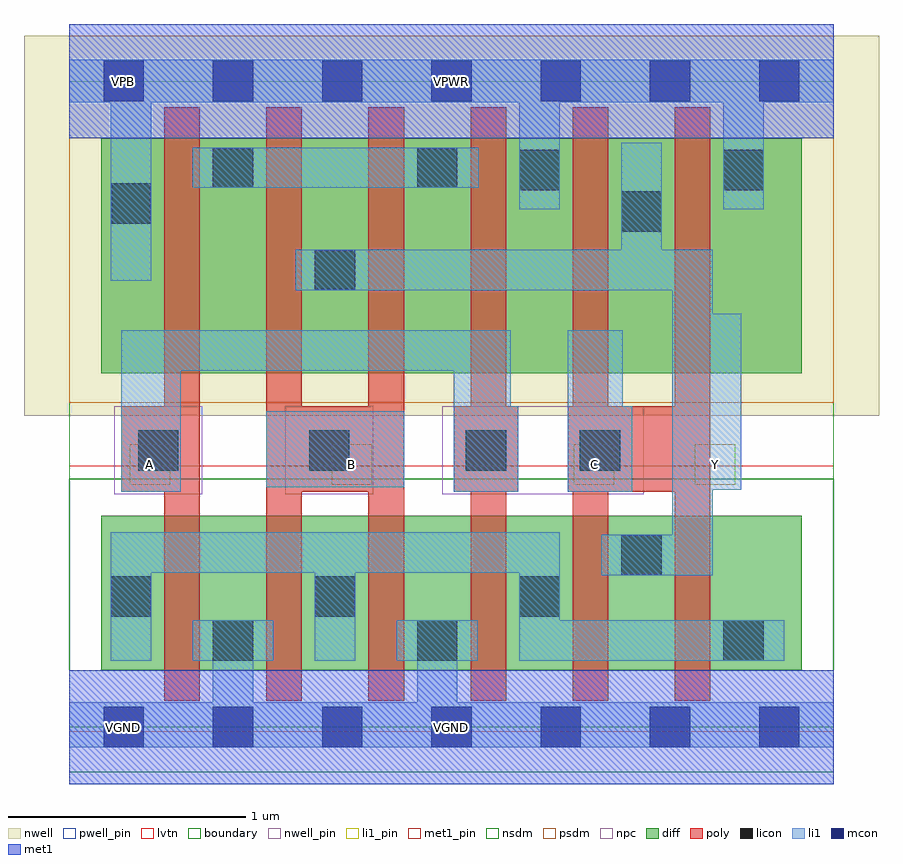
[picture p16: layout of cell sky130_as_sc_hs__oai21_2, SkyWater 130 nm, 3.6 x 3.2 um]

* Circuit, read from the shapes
.subckt sky130_as_sc_hs__oai21_2 A B C VGND VNB VPB VPWR Y
XM1 VGND A n1 VNB sky130_fd_pr__nfet_01v8_lvt w=0.65 l=0.15 m=2
XM2 n1 B VGND VNB sky130_fd_pr__nfet_01v8_lvt w=0.65 l=0.15 m=2
XM3 Y C n1 VNB sky130_fd_pr__nfet_01v8_lvt w=0.65 l=0.15 m=2
XM4 n2 A VPWR VPB sky130_fd_pr__pfet_01v8 w=0.99 l=0.15 m=2
XM5 Y B n2 VPB sky130_fd_pr__pfet_01v8 w=0.99 l=0.15 m=2
XM6 Y C VPWR VPB sky130_fd_pr__pfet_01v8 w=0.99 l=0.15 m=2
.ends

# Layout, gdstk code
import gdstk
lib = gdstk.Library(unit=1e-6, precision=1e-09)
def R(c, l, rs):  # rectangles x0, y0, x1, y1
    for r in rs: c.add(gdstk.rectangle(r[:2], r[2:], *l))
def A(c, l, x, y, w, h, nx, ny, dx, dy):  # array of equal rectangles
    R(c, l, [(x+i*dx, y+j*dy, x+i*dx+w, y+j*dy+h) for i in range(nx) for j in range(ny)])
nwell_pin = (64, 16)
nwell = (64, 20)
diff = (65, 20)
poly = (66, 20)
licon = (66, 44)
li1_pin = (67, 16)
li1 = (67, 20)
mcon = (67, 44)
met1_pin = (68, 16)
met1 = (68, 20)
nsdm = (93, 44)
psdm = (94, 20)
npc = (95, 20)
pwell_pin = (122, 16)
lvtn = (125, 44)
boundary = (235, 4)

sky130_as_sc_hs__oai21_2 = lib.new_cell('sky130_as_sc_hs__oai21_2')
R(sky130_as_sc_hs__oai21_2, nwell_pin, [(0.145,2.635,0.315,2.805)])
R(sky130_as_sc_hs__oai21_2, nwell, [(-0.19,1.31,3.41,2.91)])
R(sky130_as_sc_hs__oai21_2, diff, [(0.135,0.24,3.085,0.89), (0.135,1.49,3.085,2.48)])
A(sky130_as_sc_hs__oai21_2, poly, 0.4, 0.11, 0.15, 0.88, 6, 1, 0.43, 0)
A(sky130_as_sc_hs__oai21_2, poly, 0.4, 1.35, 0.15, 1.26, 6, 1, 0.43, 0)
R(sky130_as_sc_hs__oai21_2, poly, [(0.22,0.99,0.55,1.35), (0.83,0.99,1.41,1.35), (1.62,0.99,1.89,1.35), (2.1,0.99,2.7,1.35)])
A(sky130_as_sc_hs__oai21_2, licon, 0.175, 0.465, 0.17, 0.17, 3, 1, 0.86, 0)
R(sky130_as_sc_hs__oai21_2, licon, [(0.605,0.28,0.775,0.45), (1.465,0.28,1.635,0.45), (2.755,0.28,2.925,0.45), (2.325,0.64,2.495,0.81), (0.29,1.08,0.46,1.25), (1.01,1.08,1.18,1.25), (1.67,1.08,1.84,1.25), (2.15,1.08,2.32,1.25), (1.035,1.84,1.205,2.01), (2.325,2.085,2.495,2.255), (0.175,2.12,0.345,2.29), (1.895,2.26,2.065,2.43), (2.755,2.26,2.925,2.43), (0.605,2.27,0.775,2.44), (1.465,2.27,1.635,2.44)])
R(sky130_as_sc_hs__oai21_2, li1_pin, [(0.255,1.02,0.425,1.19), (1.105,1.02,1.275,1.19), (2.125,1.02,2.295,1.19), (2.635,1.02,2.805,1.19)])
R(sky130_as_sc_hs__oai21_2, li1, [(0,-0.085,3.22,0.105), (0.605,0.105,0.775,0.28), (1.465,0.105,1.635,0.28), (0.175,0.28,0.345,0.65), (0.52,0.28,0.86,0.45), (1.035,0.28,1.205,0.65), (1.38,0.28,1.72,0.45), (1.895,0.28,3.01,0.45), (1.895,0.45,2.065,0.65), (2.24,0.64,2.71,0.81), (0.175,0.65,2.065,0.82), (2.54,0.81,2.71,1), (0.22,0.99,0.47,1.5), (1.62,0.99,1.89,1.35), (2.1,0.99,2.37,1.35), (2.54,1,2.83,1.74), (0.83,1.01,1.41,1.33), (1.62,1.35,1.86,1.5), (2.1,1.35,2.33,1.67), (0.22,1.5,1.86,1.67), (2.54,1.74,2.71,1.84), (0.955,1.84,2.71,2.01), (0.175,1.88,0.345,2.63), (2.325,2.01,2.495,2.46), (1.895,2.18,2.065,2.63), (2.755,2.18,2.925,2.63), (0.52,2.27,1.725,2.44), (0,2.63,3.22,2.81)])
A(sky130_as_sc_hs__oai21_2, mcon, 0.145, -0.085, 0.17, 0.17, 7, 2, 0.46, 2.72)
R(sky130_as_sc_hs__oai21_2, met1_pin, [(0,-0.24,3.22,0.24), (0.145,-0.085,0.315,0.085), (0,2.48,3.22,2.96), (0.145,2.635,0.315,2.805)])
R(sky130_as_sc_hs__oai21_2, met1, [(0,-0.24,3.22,0.24), (0,2.48,3.22,2.96)])
R(sky130_as_sc_hs__oai21_2, nsdm, [(0,-0.19,3.22,1.045)])
R(sky130_as_sc_hs__oai21_2, psdm, [(0,1.365,3.22,2.91)])
R(sky130_as_sc_hs__oai21_2, npc, [(0.19,0.98,0.56,1.35), (0.91,0.98,1.28,1.35), (1.57,0.98,2.42,1.35)])
R(sky130_as_sc_hs__oai21_2, pwell_pin, [(0.145,-0.085,0.315,0.085)])
R(sky130_as_sc_hs__oai21_2, lvtn, [(0,-0.02,3.22,1.1)])
R(sky130_as_sc_hs__oai21_2, boundary, [(0,0,3.22,2.72)])
sky130_as_sc_hs__oai21_2.add(gdstk.Label('VPB', (0.23,2.72), layer=64, texttype=5))
sky130_as_sc_hs__oai21_2.add(gdstk.Label('VPB', (0.23,2.72), layer=64, texttype=5))
sky130_as_sc_hs__oai21_2.add(gdstk.Label('VGND', (0.23,0), layer=68, texttype=5))
sky130_as_sc_hs__oai21_2.add(gdstk.Label('VGND', (1.61,0), layer=68, texttype=5))
sky130_as_sc_hs__oai21_2.add(gdstk.Label('VPWR', (0.23,2.72), layer=68, texttype=5))
sky130_as_sc_hs__oai21_2.add(gdstk.Label('VPWR', (1.61,2.72), layer=68, texttype=5))
sky130_as_sc_hs__oai21_2.add(gdstk.Label('VNB', (0.23,0), layer=64, texttype=59))
sky130_as_sc_hs__oai21_2.add(gdstk.Label('VNB', (0.23,0), layer=64, texttype=59))
sky130_as_sc_hs__oai21_2.add(gdstk.Label('C', (2.21,1.105), layer=67, texttype=5))
sky130_as_sc_hs__oai21_2.add(gdstk.Label('C', (2.21,1.105), layer=67, texttype=5))
sky130_as_sc_hs__oai21_2.add(gdstk.Label('Y', (2.72,1.105), layer=67, texttype=5))
sky130_as_sc_hs__oai21_2.add(gdstk.Label('Y', (2.72,1.105), layer=67, texttype=5))
sky130_as_sc_hs__oai21_2.add(gdstk.Label('B', (1.19,1.105), layer=67, texttype=5))
sky130_as_sc_hs__oai21_2.add(gdstk.Label('B', (1.19,1.105), layer=67, texttype=5))
sky130_as_sc_hs__oai21_2.add(gdstk.Label('A', (0.34,1.105), layer=67, texttype=5))
sky130_as_sc_hs__oai21_2.add(gdstk.Label('A', (0.34,1.105), layer=67, texttype=5))

lib.write_gds('sky130_as_sc_hs__oai21_2.gds')
